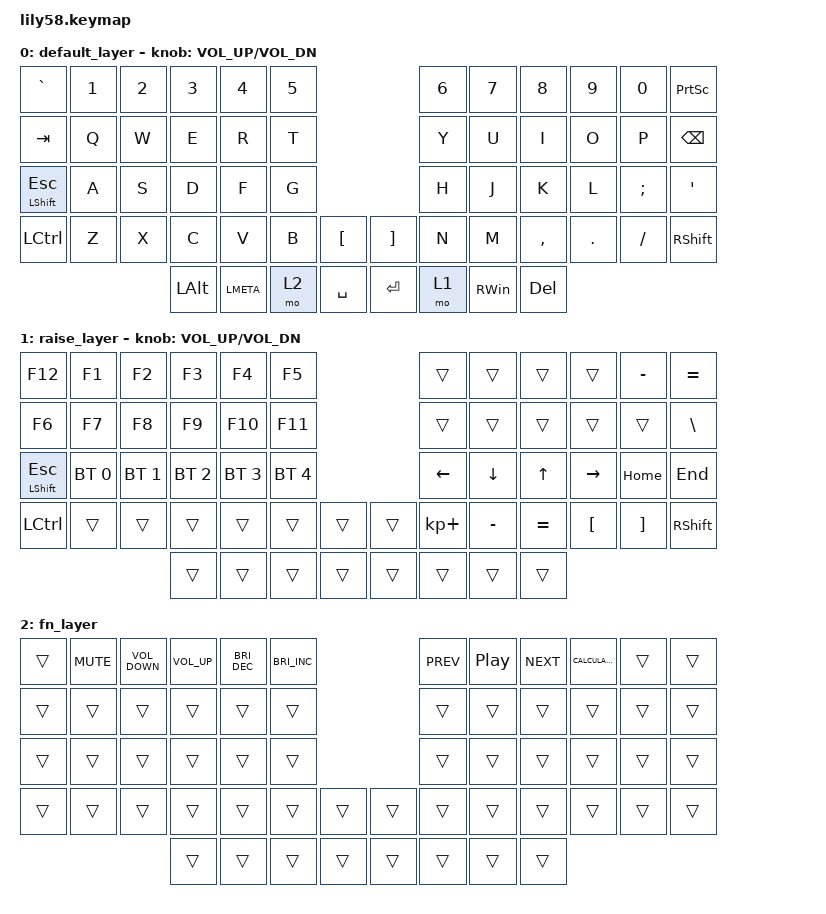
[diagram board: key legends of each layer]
/*
 * Copyright (c) 2020 The ZMK Contributors
 *
 * SPDX-License-Identifier: MIT
 */

#include <behaviors.dtsi>
#include <dt-bindings/zmk/bt.h>
#include <dt-bindings/zmk/keys.h>

/ {
    // Combo keys are a way to combine multiple keypresses to output a different key.

    combos {
        compatible = "zmk,combos";

        combo_clear_bluetooth {
            timeout-ms = <50>; // Press all the below keys within 50ms to activate mapping
            key-positions = <52 42 0>; // Press 52=LOWER, 42=[, 0=tilde
            bindings = <&bt BT_CLR>; // activate clear bluetooth bindings for current channel
        };
    };

    keymap {
        compatible = "zmk,keymap";

        default_layer {
            // ------------------------------------------------------------------------------------------------------------
            // |   `      |  1  |  2  |  3   |  4   |  5   |                   |  6   |  7    |  8    |  9   |   0   |   -   |
            // |  TAB     |  Q  |  W  |  E   |  R   |  T   |                   |  Y   |  U    |  I    |  O   |   P   |   =   |
            // |hCTRL tESC|  A  |  S  |  D   |  F   |  G   |                   |  H   |  J    |  K    |  L   |   ;   |   '   |
            // | SHIFT    |  Z  |  X  |  C   |  V   |  B   |   "["  |  |  "]"  |  N   |  M    |  ,    |  .   |   /   | SHIFT |
            //                        | ALT  | GUI  | LOWER|  SPACE |  | BSPC  | ENTER| RAISE | CTRL  |

            bindings = <
&kp GRAVE           &kp N1  &kp N2  &kp N3    &kp N4     &kp N5                           &kp N6  &kp N7         &kp N8     &kp N9   &kp N0    &kp PRINTSCREEN
&kp TAB             &kp Q   &kp W   &kp E     &kp R      &kp T                            &kp Y   &kp U          &kp I      &kp O    &kp P     &kp BACKSPACE
&mt LEFT_SHIFT ESC  &kp A   &kp S   &kp D     &kp F      &kp G                            &kp H   &kp J          &kp K      &kp L    &kp SEMI  &kp SQT
&kp LCTRL           &kp Z   &kp X   &kp C     &kp V      &kp B   &kp LBKT     &kp RBKT    &kp N   &kp M          &kp COMMA  &kp DOT  &kp FSLH  &kp RSHFT
                                    &kp LALT  &kp LMETA  &mo 2   &kp SPACE    &kp RETURN  &mo 1   &kp RIGHT_WIN  &kp DEL
            >;

            sensor-bindings = <&inc_dec_kp C_VOL_UP C_VOL_DN>;
        };

        raise_layer {
            // ------------------------------------------------------------------------------------------------------------
            // |  F12    |  F1 |  F2 |  F3  |  F4  |  F5  |                   |  F6  |   F7  |   F8  |  F9  |  F10  |  F11  |
            // |   `     |  1  |  2  |  3   |  4   |  5   |                   |  6   |   7   |   8   |  9   |   0   |   -   |
            // |CTRL/ESC |     |     |      |      |      |                   |  <-  |   ^   |   v   |  ->  |       |       |
            // | SHIFT   |     |     |      |      |      |        |  |       |  +   |   -   |   =   |  [   |   ]   |   \   |
            //                       |      |      |      |        |  |       |      |       |       |

            bindings = <
&kp F12             &kp F1        &kp F2        &kp F3        &kp F4        &kp F5                          &trans       &trans     &trans     &trans     &kp MINUS  &kp EQUAL
&kp F6              &kp F7        &kp F8        &kp F9        &kp F10       &kp F11                         &trans       &trans     &trans     &trans     &trans     &kp BSLH
&mt LEFT_SHIFT ESC  &bt BT_SEL 0  &bt BT_SEL 1  &bt BT_SEL 2  &bt BT_SEL 3  &bt BT_SEL 4                    &kp LEFT     &kp DOWN   &kp UP     &kp RIGHT  &kp HOME   &kp END
&kp LCTRL           &trans        &trans        &trans        &trans        &trans        &trans    &trans  &kp KP_PLUS  &kp MINUS  &kp EQUAL  &kp LBKT   &kp RBKT   &kp RIGHT_SHIFT
                                                &trans        &trans        &trans        &trans    &trans  &trans       &trans     &trans
            >;

            sensor-bindings = <&inc_dec_kp C_VOL_UP C_VOL_DN>;
        };

        fn_layer {
            bindings = <
&trans  &kp K_MUTE  &kp C_VOLUME_DOWN  &kp C_VOLUME_UP  &kp C_BRIGHTNESS_DEC  &kp C_BRIGHTNESS_INC                    &kp C_PREV  &kp C_PLAY_PAUSE  &kp C_NEXT  &kp K_CALCULATOR  &trans  &trans
&trans  &trans      &trans             &trans           &trans                &trans                                  &trans      &trans            &trans      &trans            &trans  &trans
&trans  &trans      &trans             &trans           &trans                &trans                                  &trans      &trans            &trans      &trans            &trans  &trans
&trans  &trans      &trans             &trans           &trans                &trans                &trans    &trans  &trans      &trans            &trans      &trans            &trans  &trans
                                       &trans           &trans                &trans                &trans    &trans  &trans      &trans            &trans
            >;
        };
    };
};
